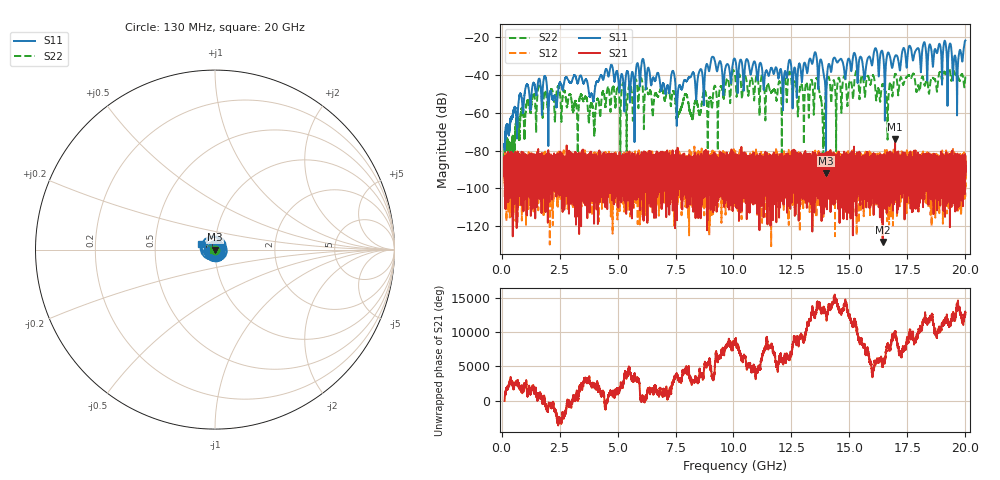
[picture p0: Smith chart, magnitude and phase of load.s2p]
!Created with skrf (http://scikit-rf.org).
# GHz S RI R 50.0
!freq ReS11 ImS11 ReS21 ImS21 ReS12 ImS12 ReS22 ImS22
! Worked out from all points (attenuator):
!   20013 points, 130 MHz to 20 GHz, reference 50 ohm
!   highest |S21| = -73.86 dB at 16.97 GHz (marker M1); lowest = -128.3 dB at 16.43 GHz (marker M2)
!   lowest |S11| = -91.9 dB at 13.99 GHz (marker M3), VSWR 1.00, Z = 50 + j0.0014 ohm
!   |S11| at or under -10 dB: start of sweep to end of sweep
!   |S22| runs from -105.6 to -35.8 dB; largest |S21 - S12| = 0.00021
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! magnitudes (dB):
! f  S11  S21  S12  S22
! 130 MHz  -78.3  -83.7  -104.5  -81.4
! 1.629 GHz  -42.0  -89.7  -84.2  -44.9
! 3.442 GHz  -40.9  -86.3  -85.7  -50.5
! 3.892 GHz  -50.3  -92.6  -86.5  -55.2
! 4.727 GHz  -34.5  -94.6  -88.2  -52.0
! 6.754 GHz  -39.0  -81.3  -83.9  -51.2
! 7.601 GHz  -49.4  -94.2  -89.1  -60.9
! 7.937 GHz  -42.9  -89.8  -102.4  -50.1
! 8.195 GHz  -39.9  -87.7  -94.3  -61.4
! 10.06 GHz  -31.6  -85.3  -90.2  -40.1
! 12.2 GHz  -39.3  -94.0  -104.3  -40.8
! 13.38 GHz  -33.7  -94.8  -98.7  -42.9
! 13.62 GHz  -36.0  -91.2  -91.7  -42.5
! 13.86 GHz  -37.1  -92.4  -90.2  -68.2
! 13.99 GHz  -91.9  -100.1  -90.4  -47.2
! 14.36 GHz  -30.8  -95.8  -105.0  -44.2
! 16.43 GHz  -28.1  -128.3  -88.6  -44.9
! 16.69 GHz  -28.3  -93.5  -89.3  -50.2
! 16.97 GHz  -30.0  -73.9  -89.9  -39.7
! 19.11 GHz  -21.9  -87.4  -95.1  -38.4
! 19.63 GHz  -48.8  -84.2  -86.7  -40.2
! 20 GHz  -21.7  -93.0  -99.4  -40.7
